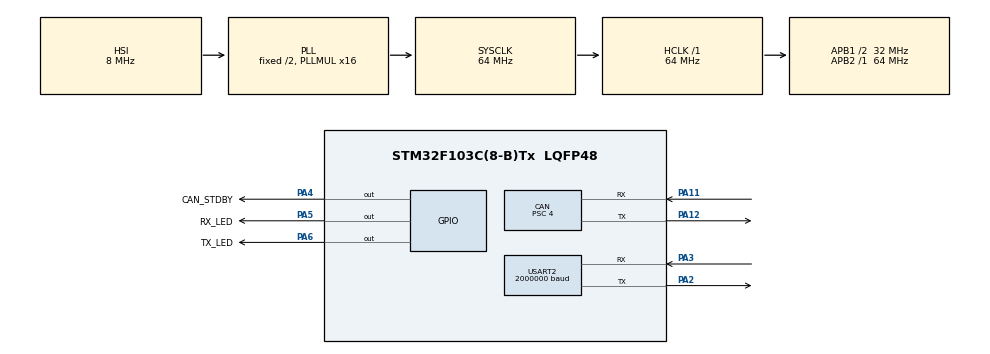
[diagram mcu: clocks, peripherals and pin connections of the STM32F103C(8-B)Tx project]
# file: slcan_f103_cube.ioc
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CAN.ABOM=ENABLE
CAN.BS1=CAN_BS1_11TQ
CAN.BS2=CAN_BS2_4TQ
CAN.CalculateBaudRate=500000
CAN.CalculateTimeBit=2000
CAN.CalculateTimeQuantum=125.0
CAN.Mode=CAN_MODE_NORMAL
CAN.NART=ENABLE
CAN.Prescaler=4
CAN.SJW=CAN_SJW_2TQ
CAN.TXFP=ENABLE
Dma.Request0=USART2_RX
Dma.USART2_RX.0.Direction=DMA_PERIPH_TO_MEMORY
Dma.USART2_RX.0.Instance=DMA1_Channel6
Dma.USART2_RX.0.MemDataAlignment=DMA_MDATAALIGN_BYTE
Dma.USART2_RX.0.MemInc=DMA_MINC_ENABLE
Dma.USART2_RX.0.Mode=DMA_CIRCULAR
Dma.USART2_RX.0.PeriphDataAlignment=DMA_PDATAALIGN_BYTE
Dma.USART2_RX.0.PeriphInc=DMA_PINC_DISABLE
Dma.USART2_RX.0.Priority=DMA_PRIORITY_HIGH
Mcu.Family=STM32F1
Mcu.Name=STM32F103C(8-B)Tx
Mcu.Package=LQFP48
NVIC.DMA1_Channel6_IRQn=true\:0\:0\:false\:false\:true\:false\:true\:true
NVIC.PriorityGroup=NVIC_PRIORITYGROUP_4
NVIC.USART2_IRQn=true\:0\:0\:false\:false\:true\:true\:true\:true
NVIC.USB_LP_CAN1_RX0_IRQn=true\:0\:0\:false\:false\:true\:true\:true\:true
PA11.Mode=CAN_Activate
PA11.Signal=CAN_RX
PA12.Mode=CAN_Activate
PA12.Signal=CAN_TX
PA13.Mode=Trace_Asynchronous_SW
PA13.Signal=SYS_JTMS-SWDIO
PA14.Mode=Trace_Asynchronous_SW
PA14.Signal=SYS_JTCK-SWCLK
PA2.Mode=Asynchronous
PA2.Signal=USART2_TX
PA3.GPIO_PuPd=GPIO_PULLUP
PA3.Mode=Asynchronous
PA3.Signal=USART2_RX
PA4.GPIO_Label=CAN_STDBY
PA4.GPIO_ModeDefaultOutputPP=GPIO_MODE_OUTPUT_OD
PA4.GPIO_PuPd=GPIO_NOPULL
PA4.GPIO_Speed=GPIO_SPEED_FREQ_HIGH
PA4.PinState=GPIO_PIN_RESET
PA4.Signal=GPIO_Output
PA5.GPIO_Label=RX_LED
PA5.GPIO_ModeDefaultOutputPP=GPIO_MODE_OUTPUT_PP
PA5.GPIO_PuPd=GPIO_NOPULL
PA5.GPIO_Speed=GPIO_SPEED_FREQ_HIGH
PA5.PinState=GPIO_PIN_SET
PA5.Signal=GPIO_Output
PA6.GPIO_Label=TX_LED
PA6.GPIO_Speed=GPIO_SPEED_FREQ_HIGH
PA6.PinState=GPIO_PIN_SET
PA6.Signal=GPIO_Output
PB3.Mode=Trace_Asynchronous_SW
PB3.Signal=SYS_JTDO-TRACESWO
ProjectManager.HeapSize=0x200
ProjectManager.StackSize=0x400
ProjectManager.TargetToolchain=STM32CubeIDE
RCC.AHBFreq_Value=64000000
RCC.APB1CLKDivider=RCC_HCLK_DIV2
RCC.APB1Freq_Value=32000000
RCC.APB1TimFreq_Value=64000000
RCC.APB2Freq_Value=64000000
RCC.APB2TimFreq_Value=64000000
RCC.HCLKFreq_Value=64000000
RCC.PLLMUL=RCC_PLL_MUL16
RCC.SYSCLKFreq_VALUE=64000000
RCC.SYSCLKSource=RCC_SYSCLKSOURCE_PLLCLK
RCC.USBFreq_Value=64000000
USART2.BaudRate=2000000
USART2.VirtualMode=VM_ASYNC
board=custom

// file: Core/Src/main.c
/* USER CODE BEGIN Header */
/**
 ******************************************************************************
 * @file           : main.c
 * @brief          : Main program body
 ******************************************************************************
 * @attention
 *
 * Copyright (c) 2025 STMicroelectronics.
 * All rights reserved.
 *
 * This software is licensed under terms that can be found in the LICENSE file
 * in the root directory of this software component.
 * If no LICENSE file comes with this software, it is provided AS-IS.
 *
 ******************************************************************************
 */
/* USER CODE END Header */
#include "main.h"

/* USER CODE BEGIN Includes */
#include "ring_buf.h"
#include "utils.h"

#include <stdbool.h>
#include <string.h>
/* USER CODE END Includes */

/* USER CODE BEGIN PTD */
typedef struct{
	struct{
		uint32_t ide;
		uint32_t val;
		uint32_t rtr;
	}id;
	uint8_t data[8];
	uint8_t dlc;
}can_packet_t;
/* USER CODE END PTD */

/* USER CODE BEGIN PD */
enum{
	CAN_BITRATE_10K,
	CAN_BITRATE_20K,
	CAN_BITRATE_50K,
	CAN_BITRATE_100K,
	CAN_BITRATE_125K,
	CAN_BITRATE_250K,
	CAN_BITRATE_500K,
	CAN_BITRATE_800K,
	CAN_BITRATE_1M
};
/* USER CODE END PD */

CAN_HandleTypeDef hcan;

UART_HandleTypeDef huart2;
DMA_HandleTypeDef hdma_usart2_rx;

void SystemClock_Config(void);
static void MX_GPIO_Init(void);
static void MX_DMA_Init(void);
static void MX_USART2_UART_Init(void);
static void MX_CAN_Init(void);

/* USER CODE BEGIN 0 */
static struct ring input_ring;
static struct ring output_ring;

static uint8_t input_buf[RING_BUFFER_SIZE];
static uint8_t rx_ch[256];

static uint16_t last_dma_pos;
static uint16_t current_dma_pos;

volatile uint8_t commands_pending;

static uint8_t channel_open = 0;
static CAN_TxHeaderTypeDef tx_header;
static uint8_t uart_tx_busy;
uint32_t rx_active = 0;
uint32_t tx_active = 0;

#define CAN_BUF_SIZE		256

can_packet_t can_buf[CAN_BUF_SIZE];

static uint16_t can_buf_head = 0;
static uint16_t can_buf_tail = 0;

static int can_buf_get(can_packet_t *packet)
{
	uint16_t next;
	next = can_buf_tail + 1;
	if(next >= CAN_BUF_SIZE){
		next = 0;
	}

	if(can_buf_tail == can_buf_head){
		return 0;
	}

	if(packet){
		memcpy(packet, &can_buf[can_buf_tail], sizeof(can_packet_t));
	}
	can_buf_tail = next;

	return 1;
}

static void can_buf_add(can_packet_t *packet)
{
	uint16_t next;
	next = can_buf_head + 1;
	if(next >= CAN_BUF_SIZE){
		next = 0;
	}

	if(next == can_buf_tail){
		(void)can_buf_get(NULL);
	}

	memcpy(&can_buf[can_buf_head], packet, sizeof(can_packet_t));
	can_buf_head = next;
}

static void put_hex(uint8_t c)
{
	uint8_t s[2];
	bin2hex(s, c);
//	(void)ring_write(&output_ring, s, 2);
}

//void HAL_UART_TxCpltCallback(UART_HandleTypeDef *huart)
//{
//	(void)huart;
////	uart_tx_busy = 0;
//}

void HAL_CAN_RxFifo0MsgPendingCallback(CAN_HandleTypeDef *hcan)
{
	CAN_RxHeaderTypeDef rx_header;
	uint8_t can_rx[8];
	can_packet_t tmp;
	char c;

	if(HAL_CAN_GetRxMessage(hcan, CAN_RX_FIFO0, &rx_header, can_rx) == HAL_OK){
		tmp.id.rtr = rx_header.RTR;
		tmp.id.ide = rx_header.IDE;
		tmp.dlc = rx_header.DLC;

		if(tmp.id.ide == CAN_ID_STD){
			tmp.id.val = rx_header.StdId;
		}
		else{
			tmp.id.val = rx_header.ExtId;
		}

		memcpy(tmp.data, can_rx, tmp.dlc);
		can_buf_add(&tmp);
	}
}

static int uart_read_blocking(uint8_t *c)
{
	uint8_t rx_complete;
	uint32_t start_ms;

	start_ms = HAL_GetTick();
	rx_complete = 0;

	// Wait for DMA data
	do{
		uint32_t dma_counter = __HAL_DMA_GET_COUNTER(&hdma_usart2_rx);
		current_dma_pos = (uint16_t)(sizeof(rx_ch)/sizeof(rx_ch[0])) - dma_counter;
		// Already data in buffer
		if(ring_read_ch(&input_ring, c)){
			rx_complete = 1;
			break;
		}

		if(HAL_GetTick() - start_ms > 10){
			return -10;
		}
	}while(current_dma_pos == last_dma_pos);

	if(!rx_complete){
		if(current_dma_pos > last_dma_pos){
			(void)ring_write(&input_ring, &rx_ch[last_dma_pos], current_dma_pos - last_dma_pos);
		}
		else if(current_dma_pos < last_dma_pos){
			(void)ring_write(&input_ring, &rx_ch[last_dma_pos], sizeof(rx_ch) - last_dma_pos);
			if(current_dma_pos > 0){
				(void)ring_write(&input_ring, &rx_ch[0], current_dma_pos);
			}
		}

		last_dma_pos = current_dma_pos;
		(void)ring_read_ch(&input_ring, c);
	}

	return 0;
}

static HAL_StatusTypeDef can_filter_setup()
{
	static CAN_FilterTypeDef can_filter;

	can_filter.FilterIdHigh = 0;
	can_filter.FilterIdLow = 0;
	can_filter.FilterMaskIdHigh = 0;
	can_filter.FilterMaskIdLow = 0;
	can_filter.FilterFIFOAssignment = CAN_FILTER_FIFO0;
	can_filter.FilterBank = 0;
	can_filter.FilterMode = CAN_FILTERMODE_IDMASK;
	can_filter.FilterScale = CAN_FILTERSCALE_32BIT;
	can_filter.FilterActivation = CAN_FILTER_ENABLE;
	can_filter.SlaveStartFilterBank = 6;

	return HAL_CAN_ConfigFilter(&hcan, &can_filter);
}

static HAL_StatusTypeDef can_reinit(uint32_t prescaler, uint32_t seg1, uint32_t seg2)
{
	HAL_CAN_Stop(&hcan);
	HAL_Delay(1);
	HAL_CAN_DeInit(&hcan);
	HAL_Delay(1);

	hcan.Instance = CAN1;
	hcan.Init.Prescaler = prescaler;
	hcan.Init.Mode = CAN_MODE_NORMAL;
	hcan.Init.SyncJumpWidth = CAN_SJW_1TQ;
	hcan.Init.TimeSeg1 = seg1;
	hcan.Init.TimeSeg2 = seg2;
	hcan.Init.TimeTriggeredMode = DISABLE;
	hcan.Init.AutoBusOff = ENABLE;
	hcan.Init.AutoWakeUp = DISABLE;
	hcan.Init.AutoRetransmission = ENABLE;
	hcan.Init.ReceiveFifoLocked = DISABLE;
	hcan.Init.TransmitFifoPriority = ENABLE;

	if(HAL_CAN_Init(&hcan) != HAL_OK){
		return HAL_ERROR;
	}

	if(can_filter_setup() != HAL_OK){
		return HAL_ERROR;
	}

	if(HAL_CAN_ActivateNotification(&hcan, CAN_IT_RX_FIFO0_MSG_PENDING)){
		return HAL_ERROR;
	}

	if(HAL_CAN_Start(&hcan) != HAL_OK){
		return HAL_ERROR;
	}

	return HAL_OK;
}

static int can_init(int index)
{
	int ret;
	switch(index){
	case CAN_BITRATE_10K:{
		if(can_reinit(200, CAN_BS1_13TQ, CAN_BS2_2TQ) == HAL_OK){
			ret = 0;
		}
		else{
			ret = -1;
		}
		break;
	}
	case CAN_BITRATE_20K:{
		if(can_reinit(100, CAN_BS1_13TQ, CAN_BS2_2TQ) == HAL_OK){
			ret = 0;
		}
		else{
			ret = -1;
		}
		break;
	}
	case CAN_BITRATE_50K:{
		if(can_reinit(40, CAN_BS1_13TQ, CAN_BS2_2TQ) == HAL_OK){
			ret = 0;
		}
		else{
			ret = -1;
		}
		break;
	}
	case CAN_BITRATE_100K:{
		if(can_reinit(20, CAN_BS1_13TQ, CAN_BS2_2TQ) == HAL_OK){
			ret = 0;
		}
		else{
			ret = -1;
		}
		break;
	}
	case CAN_BITRATE_125K:{
		if(can_reinit(16, CAN_BS1_13TQ, CAN_BS2_2TQ) == HAL_OK){
			ret = 0;
		}
		else{
			ret = -1;
		}
		break;
	}
	case CAN_BITRATE_250K:{
		if(can_reinit(8, CAN_BS1_13TQ, CAN_BS2_2TQ) == HAL_OK){
			ret = 0;
		}
		else{
			ret = -1;
		}
		break;
	}
	case CAN_BITRATE_500K:{
		if(can_reinit(4, CAN_BS1_13TQ, CAN_BS2_2TQ) == HAL_OK){
			ret = 0;
		}
		else{
			ret = -1;
		}
		break;
	}
	case CAN_BITRATE_800K:{
		if(can_reinit(4, CAN_BS1_8TQ, CAN_BS2_1TQ) == HAL_OK){
			ret = 0;
		}
		else{
			ret = -1;
		}
		break;
	}
	case CAN_BITRATE_1M:{
		if(can_reinit(2, CAN_BS1_13TQ, CAN_BS2_2TQ) == HAL_OK){
			ret = 0;
		}
		else{
			ret = -1;
		}
		break;
	}
	default:{
		ret = -1;
		break;
	}
	}

	return ret;
}

static int can_speed(int index)
{
	HAL_GPIO_WritePin(CAN_STDBY_GPIO_Port, CAN_STDBY_Pin, 0);
	DEBUG_PRINT("Speed %d", index);
	return can_init(index);
}

static uint32_t get_nibbles(int nibbles)
{
	int i;
	uint32_t id;
	uint8_t c;

	id = 0;
	for (i = 0; i < nibbles; i++) {
		if(uart_read_blocking(&c) == 0){
			id <<= 4;
			id |= nibble2bin(c);
		}
	}
	return id;
}

static void dump_can_messages()
{
	can_packet_t tmp;
	static uint8_t tx_buf[128];
	int tx_index = 0;
	char c;

	if(can_buf_get(&tmp) > 0){
		if(tmp.id.rtr == CAN_RTR_REMOTE){
			if(tmp.id.ide == CAN_ID_EXT){
				tx_buf[tx_index++] = 'R';
			}
			else{
				tx_buf[tx_index++] = 'r';
			}
		}
		else{
			if(tmp.id.ide == CAN_ID_EXT){
				tx_buf[tx_index++] = 'T';
			}
			else{
				tx_buf[tx_index++] = 't';
			}
		}

//		(void)ring_write_ch(&output_ring, c);

		if(tmp.id.ide == CAN_ID_EXT){
			c = (uint8_t)((tmp.id.val >> 24) & 0xff);
//			put_hex(c);
			bin2hex(&tx_buf[tx_index], c);
			tx_index += 2;
			c = (uint8_t)((tmp.id.val >> 16) & 0xff);
//			put_hex(c);
			bin2hex(&tx_buf[tx_index], c);
			tx_index += 2;
			c = (uint8_t)((tmp.id.val >> 8) & 0xff);
//			put_hex(c);
			bin2hex(&tx_buf[tx_index], c);
			tx_index += 2;
			c = (uint8_t)(tmp.id.val & 0xff);
//			put_hex(c);
			bin2hex(&tx_buf[tx_index], c);
			tx_index += 2;
		}
		else{
			/* bits 11-9 */
			c = (tmp.id.val >> 8) & 0x07;
			c += 0x30;

			tx_buf[tx_index++] = c;
			//	        put_hex(c);
//			(void)ring_write_ch(&output_ring, c);
			/* bits 8-1 */
			c = tmp.id.val & 0xff;
//			put_hex(c);
			bin2hex(&tx_buf[tx_index], c);
			tx_index += 2;
		}

		c = (uint8_t)(tmp.dlc);
		c += 0x30;
		tx_buf[tx_index++] = c;
//		(void)ring_write_ch(&output_ring, c);
		//		put_hex(c);

		for (uint32_t i = 0; i < tmp.dlc; i++){
//			put_hex(tmp.data[i]);
			bin2hex(&tx_buf[tx_index], tmp.data[i]);
			tx_index += 2;
		}

//		(void)ring_write_ch(&output_ring, '\r');
		tx_buf[tx_index++] = '\r';

//		uint8_t output_c;
//		while(ring_read_ch(&output_ring, &output_c)){
//			while(HAL_DMA_GetState(&hdma_usart2_tx) == HAL_DMA_STATE_BUSY){;}
//			HAL_UART_Transmit_DMA(&huart2, tx_buf, tx_index);
			HAL_UART_Transmit(&huart2, tx_buf, tx_index, HAL_MAX_DELAY);
//		}

		rx_active++;
	}
}

static int slcan_command(void)
{
	//    static bool sw_flow = true;
	bool ext, rtr;
	uint8_t i, dlc, data[8] = {0};
	uint32_t id;
	int32_t ret;
	uint8_t c;
	bool send;

	id = 0;
	dlc = 0;
	ext = true;
	send = true;
	rtr = false;
	ret = 0;
	c = 0;

//	if(HAL_CAN_GetTxMailboxesFreeLevel(&hcan) == 0){
//		__asm__("nop");
//		return -1;
//	}

	if(uart_read_blocking(&c) != 0){
		return -1;
	}
//	while(uart_read_blocking(&c) < 0);

	DEBUG_PRINT("Uart RX");

	switch (c) {
	case 'T':
		id = get_nibbles(8);
		dlc = (uint8_t)get_nibbles(1);
		break;
	case 't':
		ext = false;
		id = get_nibbles(3);
		dlc = (uint8_t)get_nibbles(1);
		break;
	case 'R':
		rtr = true;
		ext = true;
		id = get_nibbles(8);
		dlc = (uint8_t)get_nibbles(1);
		break;
	case 'r':
		rtr = true;
		ext = false;
		id = get_nibbles(3);
		dlc = (uint8_t)get_nibbles(1);
		break;
	case 'S':
		c = (uint8_t)get_nibbles(1);
		ret = can_speed(c);
		send = false;
		break;
	case 'v':
		send = false;
		break;
	case 'V':
		send = false;
		break;
	case 'C':
		// Close channel
		//    	if(!channel_open){
		//    		ret = -1;
		//    	}

		channel_open = 0;
		send = false;
		break;
	case 'O':{
		//    	if(channel_open){
		//    		ret = -1;
		//    	}

		channel_open = 1;
		send = false;
		break;
	}
	default:
		send = false;
		break;
	}
	if (dlc > 8) {
		/* consume chars until eol reached */
		do {
			ret = uart_read_blocking(&c);
			if(ret < 0){
				break;
			}
		} while (c != '\r');
		return -1;
	}

	for (i = 0; i < dlc; i++) {
		data[i] = (uint8_t)get_nibbles(2);
	}

	/* consume chars until eol reached */
	do {
		ret = uart_read_blocking(&c);
		if(ret < 0){
			break;
		}
	} while (c != '\r');

#if 1
	if (send) {

		uint32_t mailbox;

		tx_header.DLC = dlc;
		tx_header.IDE = ext ? CAN_ID_EXT : CAN_ID_STD;
		tx_header.RTR = rtr ? CAN_RTR_REMOTE : CAN_RTR_DATA;
		if(tx_header.IDE == CAN_ID_STD){
			tx_header.StdId = id;
		}
		else{
			tx_header.ExtId = id;
		}

		if(HAL_CAN_AddTxMessage(&hcan, &tx_header, data, &mailbox) != HAL_OK){
			ret = -1;
		}
		else{
			tx_active++;
		}
	}
#else
	if (send) {
		int loop = CAN_MAX_RETRY;
		/* try to send data - omit if not possible */
		while (loop-- > 0) {
			if (can_available_mailbox(CAN1))
				break;
			/* TODO: LED overflow */
		}
		ret = can_transmit(CAN1, id, ext, rtr, dlc, data);
		gpio_debug(ret);
	}
#endif

	if (commands_pending)
		commands_pending--;

	return ret;
}

#ifdef DEBUG
int _write(int file, char *ptr, int len)
{
	(void)file;
	int i = 0;
	for(i=0; i<len; ++i){
		ITM_SendChar(ptr[i]);
	}

	return i;
}
#endif

/* USER CODE END 0 */

int main(void)
{

  /* MCU Configuration--------------------------------------------------------*/

  /* Reset of all peripherals, Initializes the Flash interface and the Systick. */
  HAL_Init();

  /* Configure the system clock */
  SystemClock_Config();

  /* Initialize all configured peripherals */
  MX_GPIO_Init();
  MX_DMA_Init();
  MX_USART2_UART_Init();
  MX_CAN_Init();
  /* USER CODE BEGIN 2 */
	DEBUG_PRINT("Init..");
  /* USER CODE END 2 */

  /* Infinite loop */
  /* USER CODE BEGIN WHILE */
	ring_setup(&input_ring, input_buf, RING_BUFFER_SIZE);
//	ring_setup(&output_ring, output_buf, RING_BUFFER_SIZE);

	last_dma_pos = 0;
	commands_pending = 0;

	uart_tx_busy = 0;

	DEBUG_PRINT("Start..");
	can_speed(6);
	while(HAL_UART_Receive_DMA(&huart2, rx_ch, sizeof(rx_ch)/sizeof(rx_ch[0])) != HAL_OK);

	static uint8_t rsp;
	while (1)
	{
		int slcan_ret;
		slcan_ret = slcan_command();
		if(slcan_ret == 0){
			rsp = '\r';
//			while(HAL_DMA_GetState(&hdma_usart2_tx) == HAL_DMA_STATE_BUSY){;}
//			HAL_UART_Transmit_DMA(&huart2, &rsp, 1);
			HAL_UART_Transmit(&huart2, &rsp, 1, HAL_MAX_DELAY);
		}
		else if(slcan_ret == -1){
			rsp = 0x07;
//			while(HAL_DMA_GetState(&hdma_usart2_tx) == HAL_DMA_STATE_BUSY){;}
//			HAL_UART_Transmit_DMA(&huart2, &rsp, 1);
			HAL_UART_Transmit(&huart2, &rsp, 1, HAL_MAX_DELAY);
			HAL_CAN_AbortTxRequest(&hcan, CAN_TX_MAILBOX0 | CAN_TX_MAILBOX1 | CAN_TX_MAILBOX2);
		}

		dump_can_messages();
    /* USER CODE END WHILE */

	}
}

void SystemClock_Config(void)
{
  RCC_OscInitTypeDef RCC_OscInitStruct = {0};
  RCC_ClkInitTypeDef RCC_ClkInitStruct = {0};

  /** Initializes the RCC Oscillators according to the specified parameters
  * in the RCC_OscInitTypeDef structure.
  */
  RCC_OscInitStruct.OscillatorType = RCC_OSCILLATORTYPE_HSI;
  RCC_OscInitStruct.HSIState = RCC_HSI_ON;
  RCC_OscInitStruct.HSICalibrationValue = RCC_HSICALIBRATION_DEFAULT;
  RCC_OscInitStruct.PLL.PLLState = RCC_PLL_ON;
  RCC_OscInitStruct.PLL.PLLSource = RCC_PLLSOURCE_HSI_DIV2;
  RCC_OscInitStruct.PLL.PLLMUL = RCC_PLL_MUL16;
  if (HAL_RCC_OscConfig(&RCC_OscInitStruct) != HAL_OK)
  {
    Error_Handler();
  }

  /** Initializes the CPU, AHB and APB buses clocks
  */
  RCC_ClkInitStruct.ClockType = RCC_CLOCKTYPE_HCLK|RCC_CLOCKTYPE_SYSCLK
                              |RCC_CLOCKTYPE_PCLK1|RCC_CLOCKTYPE_PCLK2;
  RCC_ClkInitStruct.SYSCLKSource = RCC_SYSCLKSOURCE_PLLCLK;
  RCC_ClkInitStruct.AHBCLKDivider = RCC_SYSCLK_DIV1;
  RCC_ClkInitStruct.APB1CLKDivider = RCC_HCLK_DIV2;
  RCC_ClkInitStruct.APB2CLKDivider = RCC_HCLK_DIV1;

  if (HAL_RCC_ClockConfig(&RCC_ClkInitStruct, FLASH_LATENCY_2) != HAL_OK)
  {
    Error_Handler();
  }
}

static void MX_CAN_Init(void)
{

  hcan.Instance = CAN1;
  hcan.Init.Prescaler = 4;
  hcan.Init.Mode = CAN_MODE_NORMAL;
  hcan.Init.SyncJumpWidth = CAN_SJW_2TQ;
  hcan.Init.TimeSeg1 = CAN_BS1_11TQ;
  hcan.Init.TimeSeg2 = CAN_BS2_4TQ;
  hcan.Init.TimeTriggeredMode = DISABLE;
  hcan.Init.AutoBusOff = ENABLE;
  hcan.Init.AutoWakeUp = DISABLE;
  hcan.Init.AutoRetransmission = ENABLE;
  hcan.Init.ReceiveFifoLocked = DISABLE;
  hcan.Init.TransmitFifoPriority = ENABLE;
  if (HAL_CAN_Init(&hcan) != HAL_OK)
  {
    Error_Handler();
  }

}

static void MX_USART2_UART_Init(void)
{

  huart2.Instance = USART2;
  huart2.Init.BaudRate = 2000000;
  huart2.Init.WordLength = UART_WORDLENGTH_8B;
  huart2.Init.StopBits = UART_STOPBITS_1;
  huart2.Init.Parity = UART_PARITY_NONE;
  huart2.Init.Mode = UART_MODE_TX_RX;
  huart2.Init.HwFlowCtl = UART_HWCONTROL_NONE;
  huart2.Init.OverSampling = UART_OVERSAMPLING_16;
  if (HAL_UART_Init(&huart2) != HAL_OK)
  {
    Error_Handler();
  }

}

static void MX_DMA_Init(void)
{

  /* DMA controller clock enable */
  __HAL_RCC_DMA1_CLK_ENABLE();

  /* DMA interrupt init */
  /* DMA1_Channel6_IRQn interrupt configuration */
  HAL_NVIC_SetPriority(DMA1_Channel6_IRQn, 0, 0);
  HAL_NVIC_EnableIRQ(DMA1_Channel6_IRQn);

}

static void MX_GPIO_Init(void)
{
  GPIO_InitTypeDef GPIO_InitStruct = {0};

  /* GPIO Ports Clock Enable */
  __HAL_RCC_GPIOA_CLK_ENABLE();
  __HAL_RCC_GPIOB_CLK_ENABLE();

  /*Configure GPIO pin Output Level */
  HAL_GPIO_WritePin(CAN_STDBY_GPIO_Port, CAN_STDBY_Pin, GPIO_PIN_RESET);

  /*Configure GPIO pin Output Level */
  HAL_GPIO_WritePin(GPIOA, RX_LED_Pin|TX_LED_Pin, GPIO_PIN_SET);

  /*Configure GPIO pin : CAN_STDBY_Pin */
  GPIO_InitStruct.Pin = CAN_STDBY_Pin;
  GPIO_InitStruct.Mode = GPIO_MODE_OUTPUT_OD;
  GPIO_InitStruct.Pull = GPIO_NOPULL;
  GPIO_InitStruct.Speed = GPIO_SPEED_FREQ_HIGH;
  HAL_GPIO_Init(CAN_STDBY_GPIO_Port, &GPIO_InitStruct);

  /*Configure GPIO pins : RX_LED_Pin TX_LED_Pin */
  GPIO_InitStruct.Pin = RX_LED_Pin|TX_LED_Pin;
  GPIO_InitStruct.Mode = GPIO_MODE_OUTPUT_PP;
  GPIO_InitStruct.Pull = GPIO_NOPULL;
  GPIO_InitStruct.Speed = GPIO_SPEED_FREQ_HIGH;
  HAL_GPIO_Init(GPIOA, &GPIO_InitStruct);

}

void Error_Handler(void)
{
	__disable_irq();
	while (1)
	{
	}
}
